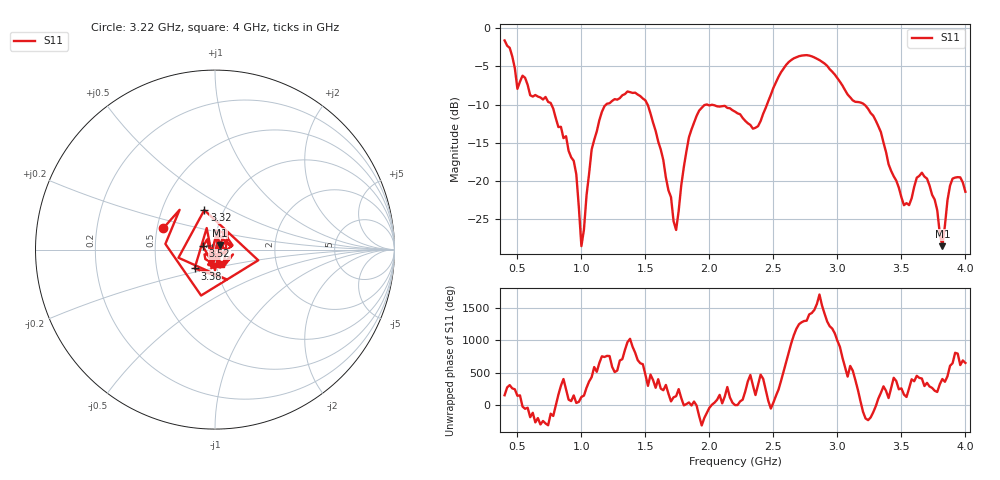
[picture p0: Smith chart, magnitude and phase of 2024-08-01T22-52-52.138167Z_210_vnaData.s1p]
!Created with skrf (http://scikit-rf.org).
# Hz S RI R 50.0
!freq ReS11 ImS11
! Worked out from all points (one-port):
!   181 points, 400 MHz to 4 GHz, reference 50 ohm
!   lowest |S11| = -28.5 dB at 3.82 GHz (marker M1), VSWR 1.08, Z = 52.7 + j2.77 ohm
!   |S11| at or under -10 dB: 1.517 GHz to 1.976 GHz (458.7 MHz wide, 26.3 % of centre); 1.983 GHz to 2.45 GHz (466.9 MHz wide, 21.1 % of centre); 3.21 GHz to end of sweep (the widest 3 of 4)
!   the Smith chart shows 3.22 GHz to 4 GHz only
!   S11 on the Smith chart (normalised r, x): 3.22 GHz: 0.54, +0.14; 3.32 GHz: 0.81, +0.38; 3.38 GHz: 0.78, -0.17; 3.52 GHz: 0.87, +0.03; 4 GHz: 1.05, -0.17
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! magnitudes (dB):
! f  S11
! 400 MHz  -1.6
! 500 MHz  -7.9
! 720 MHz  -9.0
! 860 MHz  -14.4
! 960 MHz  -19.1
! 1 GHz  -28.5
! 1.08 GHz  -15.9
! 1.18 GHz  -10.2
! 1.3 GHz  -9.2
! 1.5 GHz  -9.5
! 1.74 GHz  -26.4
! 1.76 GHz  -23.9
! 1.84 GHz  -14.3
! 1.92 GHz  -10.8
! 2.2 GHz  -10.9
! 2.38 GHz  -12.8
! 2.66 GHz  -3.9
! 2.9 GHz  -4.6
! 3.1 GHz  -9.0
! 3.22 GHz  -10.1
! 3.32 GHz  -12.8
! 3.38 GHz  -16.2
! 3.52 GHz  -23.2
! 3.56 GHz  -23.2
! 3.7 GHz  -19.7
! 3.82 GHz  -28.5
! 3.9 GHz  -19.7
! 4 GHz  -21.4
